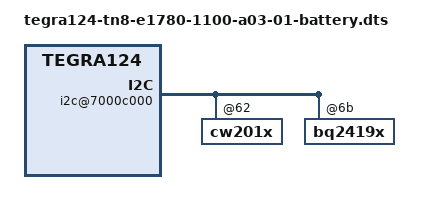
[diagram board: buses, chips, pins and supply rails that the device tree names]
#include "tegra124-tn8-e1780-1100-a03-01.dts"
#include "tegra124-platforms/tegra124-tn8-sysedp-e1780-1100-a02.dtsi"

/ {
	nvidia,dtsfilename = __FILE__;

	i2c@7000c000 {
		cw201x@62 {
			status = "okay";
		};

		bq2419x: bq2419x@6b {
			charger {
				status = "okay";
			};
		};
	};
};

